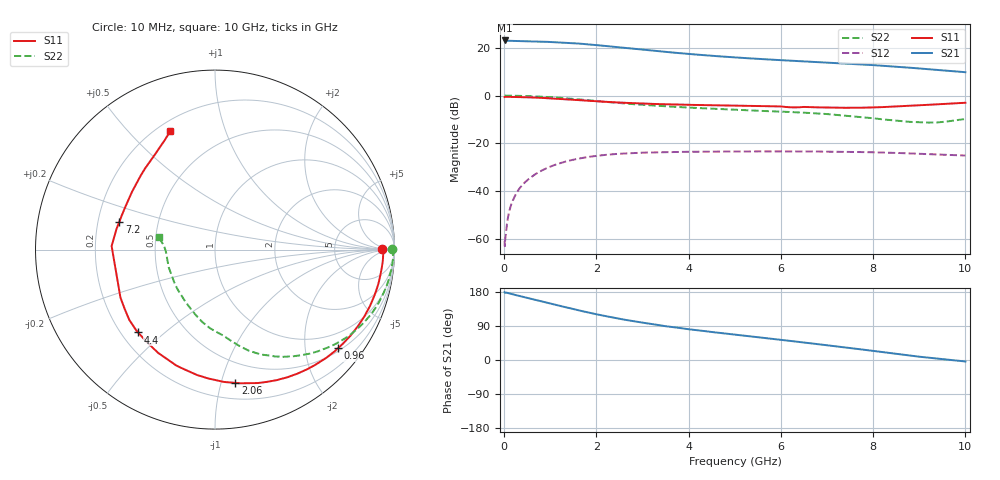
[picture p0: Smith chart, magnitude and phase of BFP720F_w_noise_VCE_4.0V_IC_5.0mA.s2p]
! Infineon Technologies  Discrete & RF Semiconductors
! BFP720F
! VCE =  4.0 V,  IC =  5.0 mA
! Common Emitter S-Parameters:  Jan 2016
# GHz  S  MA  R  50
!  f  S11  S21  S12  S22
! GHz  MAG  ANG  MAG  ANG  MAG  ANG  MAG  ANG
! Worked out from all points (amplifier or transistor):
!   233 points, 10 MHz to 10 GHz, reference 50 ohm
!   highest |S21| = 23.1 dB at 10 MHz (marker M1)
!   |S21| within 3 dB of that: start of sweep to 2.546 GHz
!   unconditionally stable (mu >= 1): start of sweep to 13.92 MHz; 7.735 GHz to end of sweep
!   at 200 MHz: K = 0.11, MSG = 33.2 dB, |S12| = -43.5 dB
!   at 1.74 GHz: K = 0.21, MSG = 23.8 dB, |S12| = -26.0 dB
!   at 10 GHz: K = 1.29, MAG = 14.2 dB, |S12| = -25.1 dB
!   lowest NFmin = 0.41 dB at 450 MHz
!   S11 on the Smith chart (normalised r, x): 10 MHz: 28, +1; 960 MHz: 0.57, -2.73; 2.06 GHz: 0.33, -1.11; 4.4 GHz: 0.27, -0.41; 7.2 GHz: 0.29, +0.13; 10 GHz: 0.25, +0.66
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0.01  0.9312 0.1  14.22 179.0  0.0009 -16.7  0.9857 0.1
0.02  0.9382 -0.7  13.93 177.3  0.0009 61.2  0.9953 -1.1
0.055  0.937 -2.2  14.04 177.6  0.0018 71.4  0.9927 -1.4
0.14  0.9352 -5.6  13.99 174.8  0.0048 81.0  0.9926 -3.6
0.28  0.9303 -11.2  13.85 170.6  0.0095 80.0  0.9863 -7.3
0.8  0.8943 -32.4  13.5 155.0  0.0264 68.6  0.948 -21.0
0.96  0.8782 -38.8  13.27 150.2  0.0312 64.5  0.9287 -25.1
1.3  0.8411 -52.5  12.72 140.2  0.0406 56.3  0.8813 -33.7
1.68  0.7939 -67.8  12.11 129.3  0.049 47.4  0.8194 -42.7
2.06  0.7512 -81.3  11.23 119.3  0.0553 39.3  0.7583 -50.9
2.62  0.704 -98.7  9.907 106.1  0.0611 29.1  0.6803 -61.0
3  0.6807 -108.5  9.109 98.4  0.0636 23.7  0.6386 -66.3
3.4  0.6598 -116.8  8.361 91.2  0.065 18.8  0.6025 -70.4
4  0.6386 -127.3  7.424 81.2  0.0664 12.7  0.5583 -75.3
4.4  0.6298 -132.9  6.911 75.5  0.0669 9.3  0.5358 -77.8
5.1  0.6138 -141.9  6.193 65.6  0.0674 4.1  0.499 -82.1
6  0.5907 -153.1  5.501 53.2  0.0677 -1.7  0.4608 -88.6
6.8  0.565 172.2  5.008 41.8  0.0671 -6.7  0.42 -97.5
7.2  0.5552 163.8  4.77 36.0  0.0665 -9.0  0.3933 -103.2
8.4  0.584 135.2  4.087 17.8  0.0633 -15.8  0.3045 -133.1
9  0.6248 122.7  3.689 8.7  0.0601 -18.2  0.2761 -159.3
10  0.7053 110.7  3.077 -3.9  0.0554 -19.8  0.3228 167.2
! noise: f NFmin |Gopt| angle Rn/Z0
0.45  0.41  0.49  4  0.15
0.9  0.44  0.48  9  0.17
1.8  0.5  0.44  20  0.17
2.4  0.54  0.41  29  0.14
5.5  0.72  0.37  68  0.1
10  1  0.25  -109  0.15
